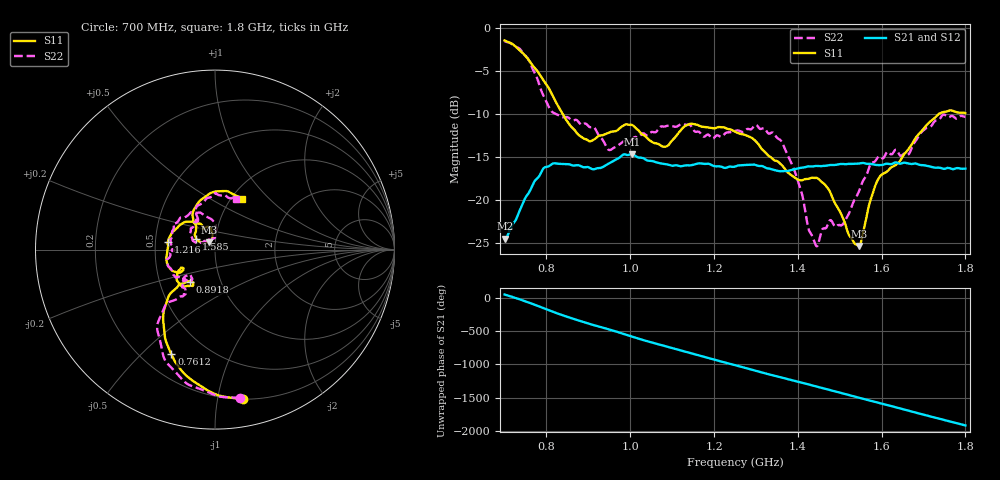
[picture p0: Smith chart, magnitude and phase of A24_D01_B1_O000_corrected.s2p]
! Created with skrf 1.9.0 (http://scikit-rf.org).
# Hz S RI R 50.0
!freq ReS11 ImS11 ReS21 ImS21 ReS12 ImS12 ReS22 ImS22
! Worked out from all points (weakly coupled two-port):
!   1601 points, 700 MHz to 1.8 GHz, reference 50 ohm
!   highest |S21| = -14.66 dB at 1.004 GHz (marker M1); lowest = -24.5 dB at 700.7 MHz (marker M2)
!   lowest |S11| = -25.3 dB at 1.546 GHz (marker M3), VSWR 1.11, Z = 46.5 + j3.87 ohm
!   |S11| at or under -10 dB: 838.6 MHz to 1.736 GHz (897.4 MHz wide, 69.7 % of centre)
!   |S22| runs from -25.3 to -1.5 dB; largest |S21 - S12| = 0.0037
!   S11 on the Smith chart (normalised r, x): 700 MHz: 0.20, -1.19; 761.2 MHz: 0.32, -0.62; 891.8 MHz: 0.71, -0.27; 1.216 GHz: 0.58, +0.06; 1.585 GHz: 0.80, +0.10; 1.8 GHz: 1.12, +0.71
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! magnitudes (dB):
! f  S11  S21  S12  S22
! 700 MHz  -1.4  -24.5  -24.3  -1.5
! 700.7 MHz  -1.5  -24.5  -24.2  -1.5
! 761.2 MHz  -4.0  -18.9  -18.7  -4.1
! 811.4 MHz  -7.5  -15.9  -15.8  -9.6
! 883.6 MHz  -12.7  -16.1  -16.0  -11.2
! 891.8 MHz  -12.9  -16.2  -16.2  -11.1
! 949.6 MHz  -12.1  -15.7  -15.7  -14.2
! 1.004 GHz  -11.2  -14.7  -14.8  -12.9
! 1.067 GHz  -13.5  -15.7  -15.6  -11.7
! 1.141 GHz  -11.2  -16.0  -15.9  -11.2
! 1.216 GHz  -11.5  -16.1  -16.1  -12.6
! 1.25 GHz  -12.1  -16.1  -16.0  -11.9
! 1.36 GHz  -15.9  -16.6  -16.6  -13.1
! 1.396 GHz  -17.5  -16.4  -16.4  -17.2
! 1.434 GHz  -17.4  -16.1  -16.1  -24.1
! 1.507 GHz  -22.0  -15.8  -15.8  -22.8
! 1.546 GHz  -25.3  -15.7  -15.7  -18.9
! 1.585 GHz  -18.3  -15.9  -15.9  -15.5
! 1.617 GHz  -16.5  -15.8  -15.7  -14.5
! 1.664 GHz  -14.1  -15.7  -15.7  -14.7
! 1.736 GHz  -10.0  -16.2  -16.3  -10.7
! 1.8 GHz  -9.9  -16.3  -16.3  -10.3
